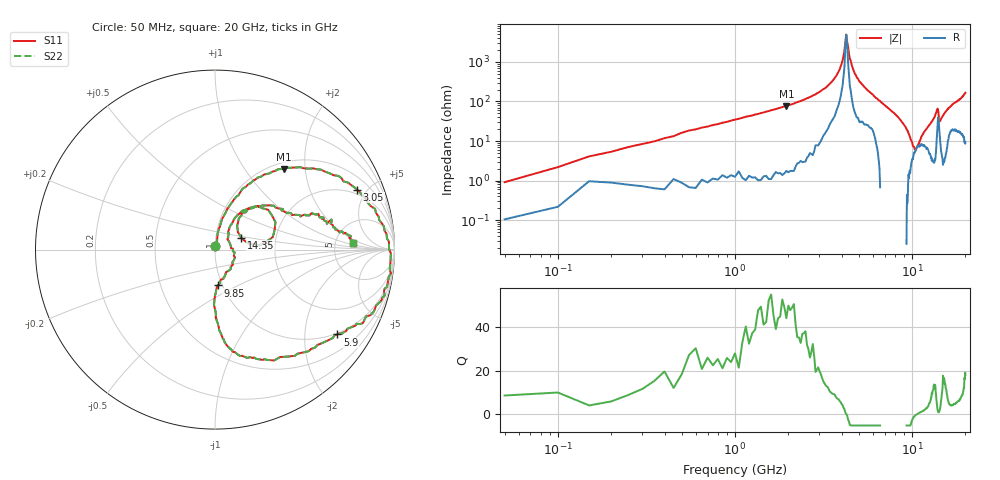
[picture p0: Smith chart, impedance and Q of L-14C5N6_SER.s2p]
#	mhz	s	ma	r	50
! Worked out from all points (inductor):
!   400 points, 50 MHz to 20 GHz, reference 50 ohm
!   read as one part in series: L = 4.22 nH near 150 MHz
!   highest Q = 48.6 at 1.95 GHz (marker M1), where L = 6.3 nH
!   self-resonance near 4.25 GHz
!   S11 on the Smith chart (normalised r, x): 50 MHz: 1.00, +0.04; 3.05 GHz: 1.68, +4.31; 5.9 GHz: 0.96, -2.92; 9.85 GHz: 0.95, -0.39; 14.35 GHz: 1.33, +0.18; 20 GHz: 7.45, +1.33
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50  0.02 83.5  1 0.1  1 0.1  0.02 83.5
250  0.08 80.3  0.99 -3.4  0.99 -3.4  0.08 80.3
550  0.18 76.6  0.98 -10.4  0.98 -10.4  0.18 76.6
1950  0.59 49.5  0.79 -39.3  0.79 -39.3  0.59 49.5
3050  0.86 22.9  0.48 -63.8  0.48 -63.8  0.86 22.9
3400  0.92 12.8  0.35 -71.8  0.35 -71.8  0.92 12.8
4000  0.98 -2.3  0.11 -80.5  0.11 -80.5  0.98 -2.3
4250  0.99 -7.7  0.02 -19.2  0.02 -19.2  0.99 -7.7
4450  0.98 -11.7  0.08 66.5  0.08 66.5  0.98 -11.7
4750  0.97 -16.9  0.19 67.1  0.19 67.1  0.97 -16.9
5900  0.83 -34.7  0.51 47.4  0.51 47.4  0.83 -34.7
6700  0.71 -57.3  0.65 35.1  0.65 35.1  0.71 -57.3
8050  0.52 -84.0  0.81 18.8  0.81 18.8  0.52 -84.0
9850  0.2 -86.0  0.95 -0.4  0.95 -0.4  0.2 -86.0
10050  0.18 -81.1  0.95 -2.1  0.95 -2.1  0.18 -81.1
12550  0.09 40.4  0.94 -24.3  0.94 -24.3  0.09 40.4
13350  0.21 57.8  0.91 -32.6  0.91 -32.6  0.21 57.8
13950  0.37 24.4  0.68 -33.7  0.68 -33.7  0.37 24.4
14350  0.16 24.6  0.87 -25.1  0.87 -25.1  0.16 24.6
15400  0.34 45.5  0.89 -39.9  0.89 -39.9  0.34 45.5
16700  0.52 21.3  0.8 -48.3  0.8 -48.3  0.52 21.3
20000  0.77 2.7  0.51 -83.7  0.51 -83.7  0.77 2.7
